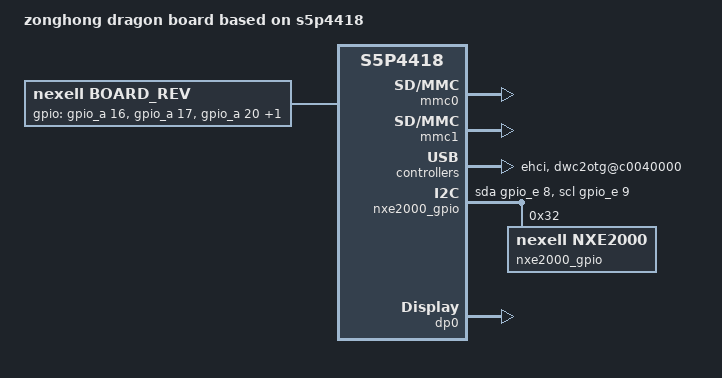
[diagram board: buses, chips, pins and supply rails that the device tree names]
/*
 * (C) Copyright 2016 Nexell
 * Youngbok, Park <park@nexell.co.kr>
 *
 * SPDX-License-Identifier:      GPL-2.0+
 */

/dts-v1/;
#include "s5p4418.dtsi"
#include "s5p4418-zh-dragon-nxe2000.dtsi"

/ {
	model = "zonghong dragon board based on s5p4418";
	cpu-model = "S5p4418";

	compatible = "nexell,s5p4418";

	mmc0:mmc@c0062000 {
		nexell,drive_dly = <0x0>;
		nexell,drive_shift = <0x03>;
		nexell,sample_dly = <0x00>;
		nexell,sample_shift = <0x02>;
		frequency = <50000000>;
		status = "okay";
	};

	mmc1:mmc@c0068000 {
		nexell,drive_dly = <0x0>;
		nexell,drive_shift = <0x03>;
		nexell,sample_dly = <0x00>;
		nexell,sample_shift = <0x02>;
		frequency = <50000000>;
		status ="okay";
	};

	ehci:usbhost@c0030000 {
		status = "okay";
	};

	dwc2otg@c0040000 {
		status = "okay";
	};

	nxe2000_gpio:i2c_gpio@0 {
		compatible = "i2c-gpio";
		#address-cells = <1>;
		#size-cells = <0>;
		gpios = <&gpio_e 8 1>,	/* SDA */
		      <&gpio_e 9 1>;	/* SCL */

		i2c-gpio,delay-us = <3>;
		nxe2000_gpio@32 {
			compatible = "nexell,nxe2000";
			reg = <0x32>;
		};
	};

	dp0:dp@c0102800 {
	        status = "okay";
	        module = <0>;
	        lcd-type = "lvds";

		dp-device {
			format = <0>;
		};

		dp-sync {
			h_active_len = <1280>;
			h_front_porch = <44>;
			h_back_porch = <16>;
			h_sync_width = <2>;
			v_active_len = <720>;
			v_front_porch = <67>;
			v_back_porch = <5>;
			v_sync_width = <2>;
		};

		dp-ctrl {
			clk_src_lv0 = <0>;
			clk_div_lv0 = <16>;
			clk_src_lv1 = <7>;
			clk_div_lv1 = <1>;
			out_format = <2>;
		};

		dp-planes {
			layer_top {
				screen_width = <1280>;
				screen_height = <720>;
				back_color = <0x0>;
			};

			layer_1 {
				fb_base = <0x50000000>;
				width = <1280>;
				height = <720>;
				format = <0x06530000>;
				pixel_byte = <4>;
			};
		};
	};

	board_rev:rev@0 {
		#address-cells = <1>;
		#size-cells = <0>;
		gpios = < &gpio_a 16 0 >,
		      < &gpio_a 17 0 >,
		      < &gpio_a 20 0 >,
		      < &gpio_a 21 0 >;
		compatible = "nexell,board_rev";
	};
};
